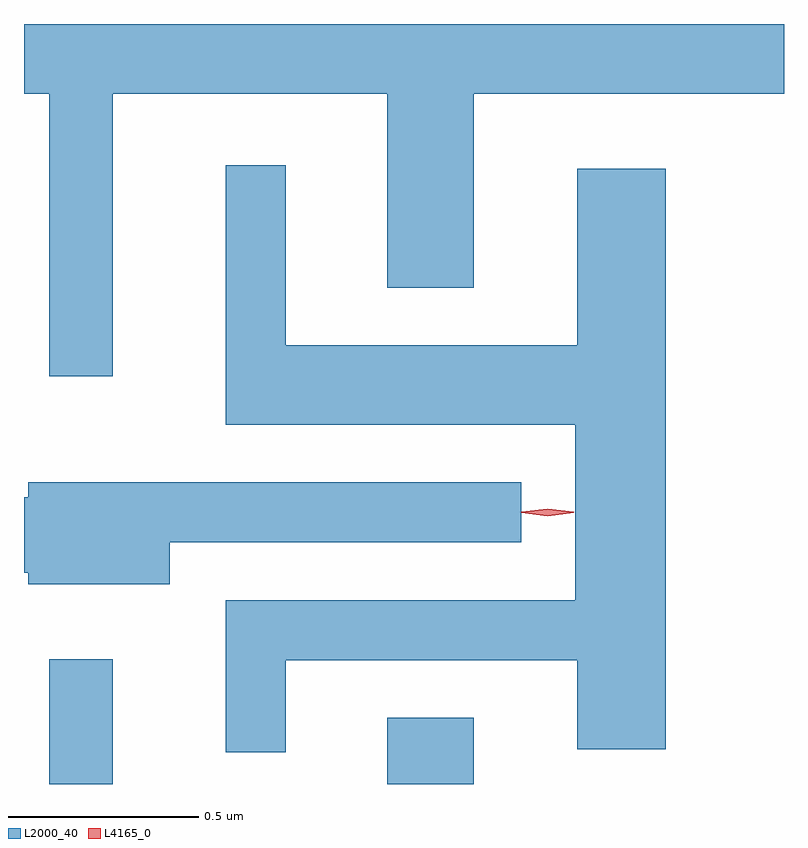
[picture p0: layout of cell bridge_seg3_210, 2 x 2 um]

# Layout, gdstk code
import gdstk
lib = gdstk.Library(unit=1e-6, precision=1e-09)
def R(c, l, rs):  # rectangles x0, y0, x1, y1
    for r in rs: c.add(gdstk.rectangle(r[:2], r[2:], *l))
def P(c, l, *ps):  # polygons
    for p in ps: c.add(gdstk.Polygon(p, *l))
L2000_40 = (2000, 40)
L4165_0 = (4165, 0)

bridge_seg3_210 = lib.new_cell('bridge_seg3_210')
R(bridge_seg3_210, L2000_40, [(1063.761,1184.14,1063.929,1184.468), (1064.651,1184.14,1064.879,1184.314)])
P(bridge_seg3_210, L2000_40, [(1064.651,1185.446),(1064.879,1185.446),(1064.879,1185.956),(1065.695,1185.956),(1065.695,1186.14),(1063.695,1186.14),(1063.695,1185.956),(1063.761,1185.956),(1063.761,1185.213),(1063.929,1185.213),(1063.929,1185.956),(1064.651,1185.956)],
  [(1064.384,1184.466),(1065.151,1184.466),(1065.151,1184.231),(1065.384,1184.231),(1065.384,1185.759),(1065.151,1185.759),(1065.151,1185.294),(1064.384,1185.294),(1064.384,1185.768),(1064.226,1185.768),(1064.226,1185.086),(1065.146,1185.086),(1065.146,1184.624),(1064.226,1184.624),(1064.226,1184.223),(1064.384,1184.223)],
  [(1064.079,1184.776),(1065.003,1184.776),(1065.003,1184.934),(1063.706,1184.934),(1063.706,1184.894),(1063.695,1184.894),(1063.695,1184.696),(1063.706,1184.696),(1063.706,1184.666),(1064.079,1184.666)])
P(bridge_seg3_210, L4165_0, [(1065.073,1184.845),(1065.007,1184.854),(1065.007,1184.855),(1065.007,1184.856),(1065.073,1184.865),(1065.139,1184.856),(1065.139,1184.855),(1065.139,1184.854)],
  [(1065.073,1184.845),(1065.004,1184.854),(1065.004,1184.855),(1065.004,1184.856),(1065.073,1184.865),(1065.142,1184.856),(1065.142,1184.855),(1065.142,1184.854)])

lib.write_gds('bridge_seg3_210.gds')
